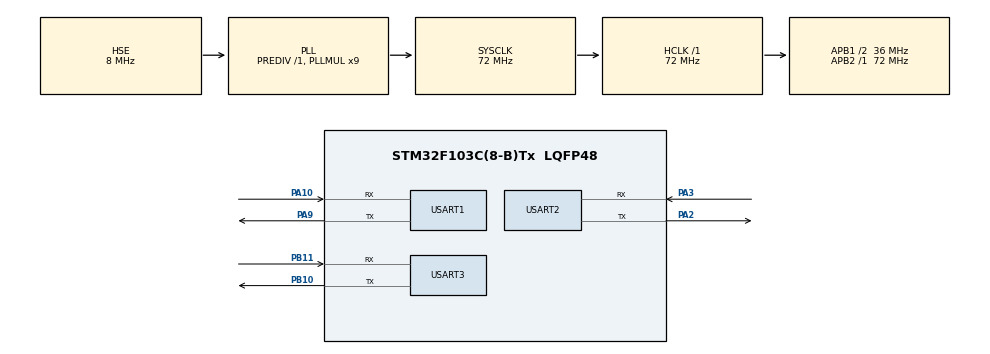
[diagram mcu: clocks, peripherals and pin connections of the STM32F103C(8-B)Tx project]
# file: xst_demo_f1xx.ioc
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Mcu.Family=STM32F1
Mcu.Name=STM32F103C(8-B)Tx
Mcu.Package=LQFP48
NVIC.PriorityGroup=NVIC_PRIORITYGROUP_4
NVIC.USART1_IRQn=true\:0\:0\:false\:false\:true\:true\:true\:true
NVIC.USART2_IRQn=true\:0\:0\:false\:false\:true\:true\:true\:true
NVIC.USART3_IRQn=true\:0\:0\:false\:false\:true\:true\:true\:true
PA10.Mode=Asynchronous
PA10.Signal=USART1_RX
PA13.Mode=Serial_Wire
PA13.Signal=SYS_JTMS-SWDIO
PA14.Mode=Serial_Wire
PA14.Signal=SYS_JTCK-SWCLK
PA2.Mode=Asynchronous
PA2.Signal=USART2_TX
PA3.Mode=Asynchronous
PA3.Signal=USART2_RX
PA9.Mode=Asynchronous
PA9.Signal=USART1_TX
PB10.Mode=Asynchronous
PB10.Signal=USART3_TX
PB11.Mode=Asynchronous
PB11.Signal=USART3_RX
PC14-OSC32_IN.Mode=LSE-External-Oscillator
PC14-OSC32_IN.Signal=RCC_OSC32_IN
PC15-OSC32_OUT.Mode=LSE-External-Oscillator
PC15-OSC32_OUT.Signal=RCC_OSC32_OUT
PD0-OSC_IN.Mode=HSE-External-Oscillator
PD0-OSC_IN.Signal=RCC_OSC_IN
PD1-OSC_OUT.Mode=HSE-External-Oscillator
PD1-OSC_OUT.Signal=RCC_OSC_OUT
ProjectManager.HeapSize=0x400
ProjectManager.StackSize=0x800
ProjectManager.TargetToolchain=CMake
RCC.AHBFreq_Value=72000000
RCC.APB1CLKDivider=RCC_HCLK_DIV2
RCC.APB1Freq_Value=36000000
RCC.APB1TimFreq_Value=72000000
RCC.APB2Freq_Value=72000000
RCC.APB2TimFreq_Value=72000000
RCC.EnbaleCSS=true
RCC.HCLKFreq_Value=72000000
RCC.PLLMUL=RCC_PLL_MUL9
RCC.PLLSourceVirtual=RCC_PLLSOURCE_HSE
RCC.SYSCLKFreq_VALUE=72000000
RCC.SYSCLKSource=RCC_SYSCLKSOURCE_PLLCLK
RCC.USBFreq_Value=72000000
USART1.VirtualMode=VM_ASYNC
USART2.VirtualMode=VM_ASYNC
USART3.VirtualMode=VM_ASYNC
board=custom

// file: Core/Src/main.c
/* USER CODE BEGIN Header */
/**
 ******************************************************************************
 * @file           : main.c
 * @brief          : Main program body
 ******************************************************************************
 * @attention
 *
 * Copyright (c) 2026 STMicroelectronics.
 * All rights reserved.
 *
 * This software is licensed under terms that can be found in the LICENSE file
 * in the root directory of this software component.
 * If no LICENSE file comes with this software, it is provided AS-IS.
 *
 ******************************************************************************
 */
/* USER CODE END Header */
#include "main.h"
#include "gpio.h"
#include "usart.h"

/* USER CODE BEGIN Includes */
#include "elog.h"
#include "shell_port.h"
#include "xst_pack_t.h"
#include "xst_porting.h"
#include <stdint.h>
#include <stdio.h>
#include <stdlib.h>

/* USER CODE END Includes */

/* USER CODE BEGIN PTD */
#define MAIN_TAG "main"
/* USER CODE END PTD */

/* USER CODE BEGIN PV */
uint8_t xst_user_id_test[2] = {0, 0};
/* USER CODE END PV */

void SystemClock_Config(void);
/* USER CODE BEGIN PFP */
static void on_xst_event(xst_handle_t handle, const xst_event_t *e, void *ctx);
/* USER CODE END PFP */

int main(void)
{

    /* MCU Configuration--------------------------------------------------------*/

    /* Reset of all peripherals, Initializes the Flash interface and the Systick. */
    HAL_Init();

    /* Configure the system clock */
    SystemClock_Config();

    /* Initialize all configured peripherals */
    MX_GPIO_Init();
    MX_USART1_UART_Init();
    MX_USART2_UART_Init();
    MX_USART3_UART_Init();
    /* USER CODE BEGIN 2 */

    /* 初始化日志系统 (USART3) */
    elog_init();
    elog_start();
    elog_i(MAIN_TAG, "elog initialized successfully");
    /* 初始化命令行 shell (UART2) */
    Port_Shell_RTT_Init();

    /* 初始化掌静脉驱动 */
    xst_port_init();

    /* 注册事件回调 */
    xst_handle_t dev = xst_porting_get_device();
    if (dev != NULL) {
        xst_set_event_callback(dev, on_xst_event, NULL);
    }
    /* USER CODE END 2 */

    /* Infinite loop */
    while (1) {

        /* USER CODE BEGIN 3 */
        xst_process_all();
        Port_Shell_RTT_Task();
    }
    /* USER CODE END 3 */
}

void SystemClock_Config(void)
{
    RCC_OscInitTypeDef RCC_OscInitStruct = {0};
    RCC_ClkInitTypeDef RCC_ClkInitStruct = {0};

    /** Initializes the RCC Oscillators according to the specified parameters
     * in the RCC_OscInitTypeDef structure.
     */
    RCC_OscInitStruct.OscillatorType = RCC_OSCILLATORTYPE_HSE;
    RCC_OscInitStruct.HSEState       = RCC_HSE_ON;
    RCC_OscInitStruct.HSEPredivValue = RCC_HSE_PREDIV_DIV1;
    RCC_OscInitStruct.HSIState       = RCC_HSI_ON;
    RCC_OscInitStruct.PLL.PLLState   = RCC_PLL_ON;
    RCC_OscInitStruct.PLL.PLLSource  = RCC_PLLSOURCE_HSE;
    RCC_OscInitStruct.PLL.PLLMUL     = RCC_PLL_MUL9;
    if (HAL_RCC_OscConfig(&RCC_OscInitStruct) != HAL_OK) {
        Error_Handler();
    }

    /** Initializes the CPU, AHB and APB buses clocks
     */
    RCC_ClkInitStruct.ClockType =
        RCC_CLOCKTYPE_HCLK | RCC_CLOCKTYPE_SYSCLK | RCC_CLOCKTYPE_PCLK1 | RCC_CLOCKTYPE_PCLK2;
    RCC_ClkInitStruct.SYSCLKSource   = RCC_SYSCLKSOURCE_PLLCLK;
    RCC_ClkInitStruct.AHBCLKDivider  = RCC_SYSCLK_DIV1;
    RCC_ClkInitStruct.APB1CLKDivider = RCC_HCLK_DIV2;
    RCC_ClkInitStruct.APB2CLKDivider = RCC_HCLK_DIV1;

    if (HAL_RCC_ClockConfig(&RCC_ClkInitStruct, FLASH_LATENCY_2) != HAL_OK) {
        Error_Handler();
    }

    /** Enables the Clock Security System
     */
    HAL_RCC_EnableCSS();
}

/* USER CODE BEGIN 4 */

static void on_xst_event(xst_handle_t handle, const xst_event_t *e, void *ctx)
{
    (void)handle;
    (void)ctx;

    switch (e->type) {
        case XST_EVENT_REPLY:
            elog_i(MAIN_TAG, "REPLY  mid=0x%02X result=%d len=%d", e->reply.mid, e->reply.result,
                   e->reply.len);
            if (e->reply.len > 0) {
                char     hex[64] = {0};
                uint16_t i;
                for (i = 0; i < e->reply.len; i++) {
                    sprintf(hex + (i % 16) * 3, "%02X ", e->reply.data[i]);
                    if ((i % 16) == 15 || i == e->reply.len - 1) {
                        elog_i(MAIN_TAG, "       data[%3d-%3d]: %s", i - (i % 16), i, hex);
                        memset(hex, 0, sizeof(hex));
                    }
                }
            }
            switch (e->reply.mid) {
                case MID_RESET:
                    if (e->reply.result == MR_SUCCESS)
                        elog_i(MAIN_TAG, "xst module reset successfully");
                    else
                        elog_e(MAIN_TAG, "xst module reset failed with code %d", e->reply.result);
                    break;
                case MID_GETSTATUS:
                    if (e->reply.result == MR_SUCCESS)
                        elog_i(MAIN_TAG, "xst module status retrieved successfully");
                    else
                        elog_e(MAIN_TAG, "xst module status retrieval failed with code %d",
                               e->reply.result);
                    break;
                case MID_VERIFY:
                    if (e->reply.result == MR_SUCCESS)
                        elog_i(MAIN_TAG, "xst module verification successful");
                    else
                        elog_e(MAIN_TAG, "xst module verification failed with code %d",
                               e->reply.result);
                    break;
                case MID_ENROLL:
                    if (e->reply.result == MR_SUCCESS)
                        elog_i(MAIN_TAG, "xst module enrollment successful");
                    else
                        elog_e(MAIN_TAG, "xst module enrollment failed with code %d",
                               e->reply.result);
                    break;
                case MID_ENROLL_PROGRESS:
                    if (e->reply.result == MR_SUCCESS && e->reply.len >= 1)
                        elog_i(MAIN_TAG, "xst module enrollment progress: %d%%", e->reply.data[0]);
                    else if (e->reply.result == MR_SUCCESS)
                        elog_i(MAIN_TAG, "xst module enrollment progress updated");
                    else
                        elog_e(MAIN_TAG,
                               "xst module enrollment progress update failed with code %d",
                               e->reply.result);
                    break;
                /******************************以下为不常用回复指令，可删除************/
                case MID_SNAP_IMAGE:
                    if (e->reply.result == MR_SUCCESS)
                        elog_i(MAIN_TAG, "xst module snapshot image taken successfully");
                    else
                        elog_e(MAIN_TAG, "xst module snapshot image failed with code %d",
                               e->reply.result);
                    break;
                case MID_GET_SAVED_IMAGE:
                    if (e->reply.result == MR_SUCCESS)
                        elog_i(MAIN_TAG, "xst module saved image retrieved successfully");
                    else
                        elog_e(MAIN_TAG, "xst module saved image retrieval failed with code %d",
                               e->reply.result);
                    break;
                case MID_UPLOAD_IMAGE:
                    if (e->reply.result == MR_SUCCESS)
                        elog_i(MAIN_TAG, "xst module image uploaded successfully");
                    else
                        elog_e(MAIN_TAG, "xst module image upload failed with code %d",
                               e->reply.result);
                    break;
                /*******************************删除至此****************************/
                case MID_ENROLL_SINGLE:
                    if (e->reply.result == MR_SUCCESS)
                        elog_i(MAIN_TAG, "xst module single enrollment successful");
                    else
                        elog_e(MAIN_TAG, "xst module single enrollment failed with code %d",
                               e->reply.result);
                    break;
                case MID_ENROLL_SINGLE_ID16:
                    if (e->reply.result == MR_SUCCESS)
                        elog_i(MAIN_TAG, "xst module ID16 enrollment successful");
                    else
                        elog_e(MAIN_TAG, "xst module ID16 enrollment failed with code %d",
                               e->reply.result);
                    break;
                case MID_ENROLL_SINGLE_ID32:
                    if (e->reply.result == MR_SUCCESS)
                        elog_i(MAIN_TAG, "xst module ID32 enrollment successful");
                    else
                        elog_e(MAIN_TAG, "xst module ID32 enrollment failed with code %d",
                               e->reply.result);
                    break;
                case MID_DEL_USER:
                    if (e->reply.result == MR_SUCCESS)
                        elog_i(MAIN_TAG, "xst module user deleted successfully");
                    else
                        elog_e(MAIN_TAG, "xst module user deletion failed with code %d",
                               e->reply.result);
                    break;
                case MID_DEL_ALL:
                    if (e->reply.result == MR_SUCCESS)
                        elog_i(MAIN_TAG, "xst module all users deleted successfully");
                    else
                        elog_e(MAIN_TAG, "xst module all users deletion failed with code %d",
                               e->reply.result);
                    break;
                case MID_GET_USER_INFO:
                    if (e->reply.result == MR_SUCCESS)
                        elog_i(MAIN_TAG, "xst module user info retrieved successfully");
                    else
                        elog_e(MAIN_TAG, "xst module user info retrieval failed with code %d",
                               e->reply.result);
                    break;
                /******************************以下为不常用回复指令，可删除************/
                case MID_ALGORITHM_RESET:
                    if (e->reply.result == MR_SUCCESS)
                        elog_i(MAIN_TAG, "xst module algorithm reset successful");
                    else
                        elog_e(MAIN_TAG, "xst module algorithm reset failed with code %d",
                               e->reply.result);
                    break;
                /*******************************删除至此*****************************/
                case MID_GET_ALL_USER_ID:
                    if (e->reply.result == MR_SUCCESS)
                        elog_i(MAIN_TAG, "xst module all user IDs retrieved successfully");
                    else
                        elog_e(MAIN_TAG, "xst module all user IDs retrieval failed with code %d",
                               e->reply.result);
                    break;
                case MID_GET_ALL_USER_INFO:
                    if (e->reply.result == MR_SUCCESS)
                        elog_i(MAIN_TAG, "xst module all user info retrieved successfully");
                    else
                        elog_e(MAIN_TAG, "xst module all user info retrieval failed with code %d",
                               e->reply.result);
                    break;
                case MID_GET_VERSION:
                    if (e->reply.result == MR_SUCCESS)
                        elog_i(MAIN_TAG, "xst module version retrieved successfully");
                    else
                        elog_e(MAIN_TAG, "xst module version retrieval failed with code %d",
                               e->reply.result);
                    break;
                /*******************************以下为不常用回复指令，可删除***********/
                case MID_START_OTA:
                    if (e->reply.result == MR_SUCCESS)
                        elog_i(MAIN_TAG, "xst module OTA started successfully");
                    else
                        elog_e(MAIN_TAG, "xst module OTA start failed with code %d",
                               e->reply.result);
                    break;
                case MID_STOP_OTA:
                    if (e->reply.result == MR_SUCCESS)
                        elog_i(MAIN_TAG, "xst module OTA stopped successfully");
                    else
                        elog_e(MAIN_TAG, "xst module OTA stop failed with code %d",
                               e->reply.result);
                    break;
                case MID_GET_OTA_STATUS:
                    if (e->reply.result == MR_SUCCESS)
                        elog_i(MAIN_TAG, "xst module OTA status retrieved successfully");
                    else
                        elog_e(MAIN_TAG, "xst module OTA status retrieval failed with code %d",
                               e->reply.result);
                    break;
                case MID_OTA_HEADER:
                    if (e->reply.result == MR_SUCCESS)
                        elog_i(MAIN_TAG, "xst module OTA header retrieved successfully");
                    else
                        elog_e(MAIN_TAG, "xst module OTA header retrieval failed with code %d",
                               e->reply.result);
                    break;
                case MID_OTA_PACKET:
                    if (e->reply.result == MR_SUCCESS)
                        elog_i(MAIN_TAG, "xst module OTA packet retrieved successfully");
                    else
                        elog_e(MAIN_TAG, "xst module OTA packet retrieval failed with code %d",
                               e->reply.result);
                    break;
                case MID_INIT_ENCRYPTION:
                    if (e->reply.result == MR_SUCCESS)
                        elog_i(MAIN_TAG, "xst module encryption initialized successfully");
                    else
                        elog_e(MAIN_TAG, "xst module encryption initialization failed with code %d",
                               e->reply.result);
                    break;
                case MID_CONFIG_BAUDRATE:
                    if (e->reply.result == MR_SUCCESS)
                        elog_i(MAIN_TAG, "xst module baud rate configured successfully");
                    else
                        elog_e(MAIN_TAG, "xst module baud rate configuration failed with code %d",
                               e->reply.result);
                    break;
                case MID_SET_RELEASE_ENC_KEY:
                    if (e->reply.result == MR_SUCCESS)
                        elog_i(MAIN_TAG, "xst module release encryption key set successfully");
                    else
                        elog_e(MAIN_TAG,
                               "xst module release encryption key setting failed with code %d",
                               e->reply.result);
                    break;
                case MID_SET_DEBUG_ENC_KEY:
                    if (e->reply.result == MR_SUCCESS)
                        elog_i(MAIN_TAG, "xst module debug encryption key set successfully");
                    else
                        elog_e(MAIN_TAG,
                               "xst module debug encryption key setting failed with code %d",
                               e->reply.result);
                    break;
                case MID_GET_LOG_FILE_SIZE:
                    if (e->reply.result == MR_SUCCESS)
                        elog_i(MAIN_TAG, "xst module log file size retrieved successfully");
                    else
                        elog_e(MAIN_TAG, "xst module log file size retrieval failed with code %d",
                               e->reply.result);
                    break;
                case MID_UPLOAD_LOG_FILE:
                    if (e->reply.result == MR_SUCCESS)
                        elog_i(MAIN_TAG, "xst module log file uploaded successfully");
                    else
                        elog_e(MAIN_TAG, "xst module log file upload failed with code %d",
                               e->reply.result);
                    break;
                /*******************************删除至此*****************************/
                case MID_ENROLL_BIOTYPE:
                    if (e->reply.result == MR_SUCCESS)
                        elog_i(MAIN_TAG, "xst module enrollment successful");
                    else
                        elog_e(MAIN_TAG, "xst module enrollment failed with code %d",
                               e->reply.result);
                    break;
                case MID_ENROLL_BIOTYPE_ID16:
                    if (e->reply.result == MR_SUCCESS)
                        elog_i(MAIN_TAG, "xst module ID16 enrollment successful");
                    else
                        elog_e(MAIN_TAG, "xst module ID16 enrollment failed with code %d",
                               e->reply.result);
                    break;
                case MID_ENROLL_BIOTYPE_ID32:
                    if (e->reply.result == MR_SUCCESS)
                        elog_i(MAIN_TAG, "xst module ID32 enrollment successful");
                    else
                        elog_e(MAIN_TAG, "xst module ID32 enrollment failed with code %d",
                               e->reply.result);
                    break;
                case MID_VERIFY_BIOTYPE:
                    if (e->reply.result == MR_SUCCESS)
                        elog_i(MAIN_TAG, "xst module verification successful");
                    else
                        elog_e(MAIN_TAG, "xst module verification failed with code %d",
                               e->reply.result);
                    break;
                case MID_DEL_USER_BIOTYPE:
                    if (e->reply.result == MR_SUCCESS)
                        elog_i(MAIN_TAG, "xst module user deletion successful");
                    else
                        elog_e(MAIN_TAG, "xst module user deletion failed with code %d",
                               e->reply.result);
                    break;
                case MID_DEL_ALL_BIOTYPE:
                    if (e->reply.result == MR_SUCCESS)
                        elog_i(MAIN_TAG, "xst module all users deleted successfully");
                    else
                        elog_e(MAIN_TAG, "xst module all users deletion failed with code %d",
                               e->reply.result);
                    break;
                case MID_GET_ALL_USER_ID_BIOTYPE:
                    if (e->reply.result == MR_SUCCESS)
                        elog_i(MAIN_TAG, "xst module all user IDs retrieved successfully");
                    else
                        elog_e(MAIN_TAG, "xst module all user IDs retrieval failed with code %d",
                               e->reply.result);
                    break;
                case MID_GET_USER_INFO_BIOTYPE:
                    if (e->reply.result == MR_SUCCESS)
                        elog_i(MAIN_TAG, "xst module user info retrieved successfully");
                    else
                        elog_e(MAIN_TAG, "xst module user info retrieval failed with code %d",
                               e->reply.result);
                    break;
                case MID_GET_ALL_INFO_BIOTYPE:
                    if (e->reply.result == MR_SUCCESS)
                        elog_i(MAIN_TAG, "xst module all info retrieved successfully");
                    else
                        elog_e(MAIN_TAG, "xst module all info retrieval failed with code %d",
                               e->reply.result);
                    break;
                /*******************************以下为不常用回复指令，可删除***********/
                case MID_GET_DAT_FILE_SIZE:
                    if (e->reply.result == MR_SUCCESS)
                        elog_i(MAIN_TAG, "xst module data file size retrieved successfully");
                    else
                        elog_e(MAIN_TAG, "xst module data file size retrieval failed with code %d",
                               e->reply.result);
                    break;
                case MID_UPLOAD_DAT_FILE:
                    if (e->reply.result == MR_SUCCESS)
                        elog_i(MAIN_TAG, "xst module data file uploaded successfully");
                    else
                        elog_e(MAIN_TAG, "xst module data file upload failed with code %d",
                               e->reply.result);
                    break;
                case MID_INFORM_DAT_FILE_SIZE:
                    if (e->reply.result == MR_SUCCESS)
                        elog_i(MAIN_TAG, "xst module data file size informed successfully");
                    else
                        elog_e(MAIN_TAG, "xst module data file size informing failed with code %d",
                               e->reply.result);
                    break;
                case MID_DOWNLOAD_DAT_FILE:
                    if (e->reply.result == MR_SUCCESS)
                        elog_i(MAIN_TAG, "xst module data file downloaded successfully");
                    else
                        elog_e(MAIN_TAG, "xst module data file download failed with code %d",
                               e->reply.result);
                    break;
                case MID_SET_THRESHOLD_LEVEL:
                    if (e->reply.result == MR_SUCCESS)
                        elog_i(MAIN_TAG, "xst module threshold level set successfully");
                    else
                        elog_e(MAIN_TAG, "xst module threshold level setting failed with code %d",
                               e->reply.result);
                    break;
                case MID_POWER_DOWN:
                    if (e->reply.result == MR_SUCCESS)
                        elog_i(MAIN_TAG, "xst module powered down successfully");
                    else
                        elog_e(MAIN_TAG, "xst module power down failed with code %d",
                               e->reply.result);
                    break;
                case MID_DEBUG_MODE:
                    if (e->reply.result == MR_SUCCESS)
                        elog_i(MAIN_TAG, "xst module debug mode enabled successfully");
                    else
                        elog_e(MAIN_TAG, "xst module debug mode enabling failed with code %d",
                               e->reply.result);
                    break;
                case MID_GET_DEBUG_INFO:
                    if (e->reply.result == MR_SUCCESS)
                        elog_i(MAIN_TAG, "xst module debug info retrieved successfully");
                    else
                        elog_e(MAIN_TAG, "xst module debug info retrieval failed with code %d",
                               e->reply.result);
                    break;
                case MID_UPLOAD_DEBUG_INFO:
                    if (e->reply.result == MR_SUCCESS)
                        elog_i(MAIN_TAG, "xst module debug info uploaded successfully");
                    else
                        elog_e(MAIN_TAG, "xst module debug info upload failed with code %d",
                               e->reply.result);
                    break;
                case MID_GET_LIBRARY_VERSION:
                    if (e->reply.result == MR_SUCCESS)
                        elog_i(MAIN_TAG, "xst module library version retrieved successfully");
                    else
                        elog_e(MAIN_TAG, "xst module library version retrieval failed with code %d",
                               e->reply.result);
                    break;
                case MID_DEMO_MODE:
                    if (e->reply.result == MR_SUCCESS)
                        elog_i(MAIN_TAG, "xst module demo mode enabled successfully");
                    else
                        elog_e(MAIN_TAG, "xst module demo mode enabling failed with code %d",
                               e->reply.result);
                    break;
                /*******************************删除至此*****************************/
                case MID_QUIT:
                    if (e->reply.result == MR_SUCCESS)
                        elog_i(MAIN_TAG, "License authorization successful");
                    else
                        elog_e(MAIN_TAG, "License authorization failed with code %d",
                               e->reply.result);
                    break;
                default:
                    elog_w(MAIN_TAG, "License authorization failed");
                    break;
            }
            break;

        case XST_EVENT_NOTE:
            elog_i(MAIN_TAG, "NOTE  nid=0x%02X len=%d", e->note.note_id, e->note.len);
            if (e->note.len > 0) {
                char     hex[64] = {0};
                uint16_t i;
                for (i = 0; i < e->note.len; i++) {
                    sprintf(hex + (i % 16) * 3, "%02X ", e->note.data[i]);
                    if ((i % 16) == 15 || i == e->note.len - 1) {
                        elog_i(MAIN_TAG, "       data[%3d-%3d]: %s", i - (i % 16), i, hex);
                        memset(hex, 0, sizeof(hex));
                    }
                }
            }
            switch (e->note.note_id) {
                case NID_READY:
                    elog_i(MAIN_TAG, "Device is ready");
                    break;
                case NID_FACE_STATE:
                    elog_i(MAIN_TAG, "Face state updated");
                    break;
                case NID_UNKNOWNERROR:
                    elog_i(MAIN_TAG, "An unknown error occurred");
                    break;
                case NID_OTA_DONE:
                    elog_i(MAIN_TAG, "OTA update completed");
                    break;
                case NID_PALM_STATE:
                    elog_i(MAIN_TAG, "Palm state updated");
                    break;
                case NID_LICENSE_FAIL:
                    elog_w(MAIN_TAG, "License authorization failed");
                    break;
                default:
                    elog_w(MAIN_TAG, "Unknown note received");
                    break;
            }
            break;

        case XST_EVENT_DATA:
            elog_i(MAIN_TAG, "DATA  msgid=0x%02X len=%d", e->data.msgid, e->data.len);
            if (e->data.len > 0) {
                char     hex[64] = {0};
                uint16_t i;
                for (i = 0; i < e->data.len; i++) {
                    sprintf(hex + (i % 16) * 3, "%02X ", e->data.data[i]);
                    if ((i % 16) == 15 || i == e->data.len - 1) {
                        elog_i(MAIN_TAG, "       data[%3d-%3d]: %s", i - (i % 16), i, hex);
                        memset(hex, 0, sizeof(hex));
                    }
                }
            }
            break;

        case XST_EVENT_ERROR:
            elog_e(MAIN_TAG, "ERROR code=%d", e->error.code);
            break;

        case XST_EVENT_NONE:
            break;

        default:
            break;
    }
}

void elog_shell_test(void)
{
    elog_i(MAIN_TAG, "This is an info message");
    elog_w(MAIN_TAG, "This is a warning message");
    elog_e(MAIN_TAG, "This is an error message");
}
SHELL_EXPORT_CMD(SHELL_CMD_PERMISSION(0), log_test, elog_shell_test, test function);

void xst_res(void) { xst_reset_module(xst_port_dev); }
SHELL_EXPORT_CMD(SHELL_CMD_PERMISSION(0), xst_res, xst_res, reset xst module);

void xst_vfy(void)
{
    uint16_t len = sizeof(xst_user_id_test);
    xst_verify(xst_port_dev, xst_user_id_test, &len);
}
SHELL_EXPORT_CMD(SHELL_CMD_PERMISSION(0), xst_vfy, xst_vfy, verify xst module);

void xst_dell_all(void) { xst_delete_all(xst_port_dev); }
SHELL_EXPORT_CMD(SHELL_CMD_PERMISSION(0), xst_dell_all, xst_dell_all,
                 delete all users in xst module);

void xst_regeid(void) { xst_enroll(xst_port_dev, 1, (uint8_t *)"water", 10); }
SHELL_EXPORT_CMD(SHELL_CMD_PERMISSION(0), xst_regeid, xst_regeid, register user ID in xst module);
/* USER CODE END 4 */

void Error_Handler(void)
{
    __disable_irq();
    while (1) {
    }
}
